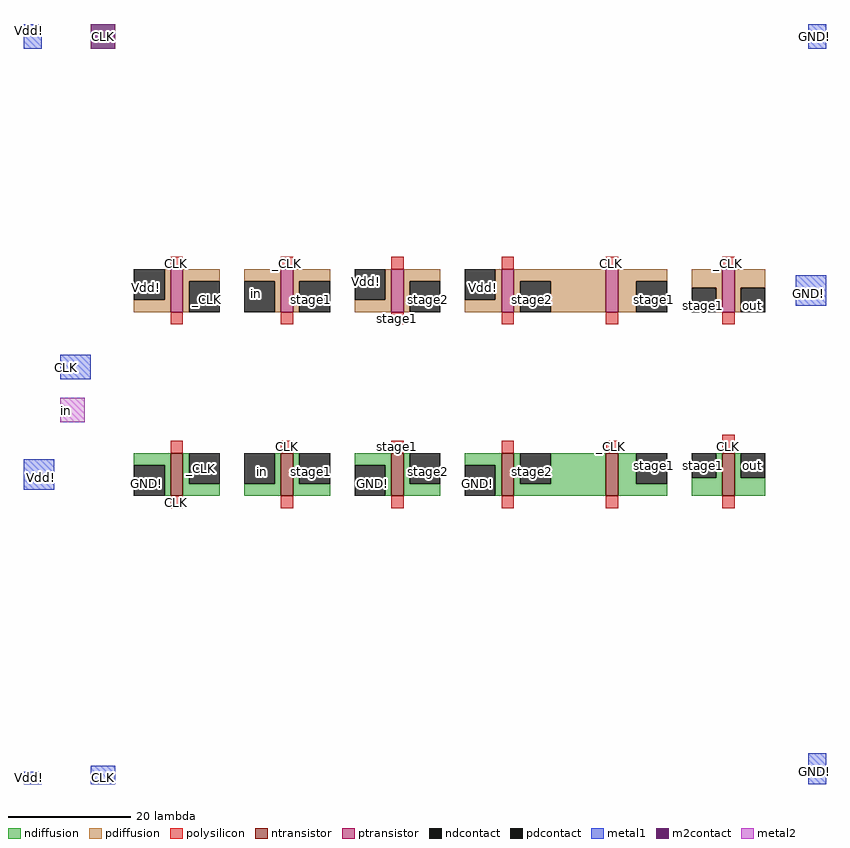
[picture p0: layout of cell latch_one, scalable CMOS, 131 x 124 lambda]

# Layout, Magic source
magic
tech scmos
<< ntransistor >>
rect -22 1296 -20 1303
rect -4 1296 -2 1303
rect 14 1296 16 1303
rect 32 1296 34 1303
rect 49 1296 51 1303
rect 68 1296 70 1303
<< ptransistor >>
rect -22 1326 -20 1333
rect -4 1326 -2 1333
rect 14 1326 16 1333
rect 32 1326 34 1333
rect 49 1326 51 1333
rect 68 1326 70 1333
<< ndiffusion >>
rect -28 1301 -22 1303
rect -23 1296 -22 1301
rect -20 1298 -19 1303
rect -20 1296 -14 1298
rect -5 1298 -4 1303
rect -10 1296 -4 1298
rect -2 1298 -1 1303
rect -2 1296 4 1298
rect 8 1301 14 1303
rect 13 1296 14 1301
rect 16 1298 17 1303
rect 16 1296 22 1298
rect 26 1301 32 1303
rect 31 1296 32 1301
rect 34 1298 35 1303
rect 40 1298 49 1303
rect 34 1296 49 1298
rect 51 1298 54 1303
rect 51 1296 59 1298
rect 67 1299 68 1303
rect 63 1296 68 1299
rect 70 1299 71 1303
rect 70 1296 75 1299
<< pdiffusion >>
rect -23 1328 -22 1333
rect -28 1326 -22 1328
rect -20 1331 -14 1333
rect -20 1326 -19 1331
rect -10 1331 -4 1333
rect -5 1326 -4 1331
rect -2 1331 4 1333
rect -2 1326 -1 1331
rect 13 1328 14 1333
rect 8 1326 14 1328
rect 16 1331 22 1333
rect 16 1326 17 1331
rect 31 1328 32 1333
rect 26 1326 32 1328
rect 34 1331 49 1333
rect 34 1326 35 1331
rect 40 1326 49 1331
rect 51 1331 59 1333
rect 51 1326 54 1331
rect 63 1330 68 1333
rect 67 1326 68 1330
rect 70 1330 75 1333
rect 70 1326 71 1330
<< ndcontact >>
rect -28 1296 -23 1301
rect -19 1298 -14 1303
rect -10 1298 -5 1303
rect -1 1298 4 1303
rect 8 1296 13 1301
rect 17 1298 22 1303
rect 26 1296 31 1301
rect 35 1298 40 1303
rect 54 1298 59 1303
rect 63 1299 67 1303
rect 71 1299 75 1303
<< pdcontact >>
rect -28 1328 -23 1333
rect -19 1326 -14 1331
rect -10 1326 -5 1331
rect -1 1326 4 1331
rect 8 1328 13 1333
rect 17 1326 22 1331
rect 26 1328 31 1333
rect 35 1326 40 1331
rect 54 1326 59 1331
rect 63 1326 67 1330
rect 71 1326 75 1330
<< polysilicon >>
rect -22 1333 -20 1335
rect -4 1333 -2 1335
rect 14 1333 16 1335
rect 32 1333 34 1335
rect 49 1333 51 1335
rect 68 1333 70 1335
rect -22 1324 -20 1326
rect -4 1324 -2 1326
rect 14 1324 16 1326
rect 32 1324 34 1326
rect 49 1324 51 1326
rect 68 1324 70 1326
rect -22 1303 -20 1305
rect -4 1303 -2 1305
rect 14 1303 16 1305
rect 32 1303 34 1305
rect 49 1303 51 1305
rect 68 1303 70 1306
rect -22 1294 -20 1296
rect -4 1294 -2 1296
rect 14 1294 16 1296
rect 32 1294 34 1296
rect 49 1294 51 1296
rect 68 1294 70 1296
<< metal1 >>
rect -46 1369 -43 1373
rect 82 1369 85 1373
rect 80 1327 85 1332
rect -40 1315 -35 1319
rect -46 1297 -41 1302
rect -46 1249 -43 1251
rect -35 1249 -31 1252
rect 82 1249 85 1254
<< m2contact >>
rect -35 1369 -31 1373
<< metal2 >>
rect -40 1308 -36 1312
<< labels >>
rlabel metal2 -39 1310 -39 1310 1 in
rlabel metal1 -39 1317 -39 1317 1 CLK
rlabel metal1 -43 1299 -43 1299 3 Vdd!
rlabel pdcontact -26 1330 -26 1330 1 Vdd!
rlabel pdcontact 10 1331 10 1331 1 Vdd!
rlabel pdcontact 29 1330 29 1330 1 Vdd!
rlabel metal1 -45 1372 -45 1372 4 Vdd!
rlabel metal1 -45 1250 -45 1250 2 Vdd!
rlabel ndcontact -26 1298 -26 1298 1 GND!
rlabel ndcontact 11 1298 11 1298 1 GND!
rlabel ndcontact 28 1298 28 1298 1 GND!
rlabel metal1 83 1251 83 1251 1 GND!
rlabel metal1 82 1329 82 1329 1 GND!
rlabel metal1 83 1371 83 1371 5 GND!
rlabel polysilicon -21 1334 -21 1334 1 CLK
rlabel polysilicon -21 1295 -21 1295 1 CLK
rlabel polysilicon -3 1304 -3 1304 1 CLK
rlabel polysilicon 50 1334 50 1334 1 CLK
rlabel polysilicon 69 1304 69 1304 1 CLK
rlabel m2contact -33 1371 -33 1371 5 CLK
rlabel metal1 -33 1250 -33 1250 1 CLK
rlabel ndcontact -17 1300 -17 1301 1 _CLK
rlabel pdcontact -16 1328 -16 1328 1 _CLK
rlabel polysilicon -3 1334 -3 1334 1 _CLK
rlabel polysilicon 50 1304 50 1304 1 _CLK
rlabel polysilicon 69 1334 69 1334 1 _CLK
rlabel ndcontact -7 1300 -7 1300 1 in
rlabel pdcontact -8 1329 -8 1329 1 in
rlabel pdcontact 1 1328 1 1328 1 stage1
rlabel ndcontact 1 1300 1 1300 1 stage1
rlabel polysilicon 15 1325 15 1325 1 stage1
rlabel polysilicon 15 1304 15 1304 1 stage1
rlabel ndcontact 57 1301 57 1301 1 stage1
rlabel pdcontact 57 1328 57 1328 1 stage1
rlabel pdcontact 65 1327 65 1327 1 stage1
rlabel ndcontact 65 1301 65 1301 1 stage1
rlabel pdcontact 20 1328 20 1328 1 stage2
rlabel ndcontact 20 1300 20 1300 1 stage2
rlabel pdcontact 37 1328 37 1328 1 stage2
rlabel ndcontact 37 1300 37 1300 1 stage2
rlabel pdcontact 73 1327 73 1327 1 out
rlabel ndcontact 73 1301 73 1301 1 out
<< end >>
